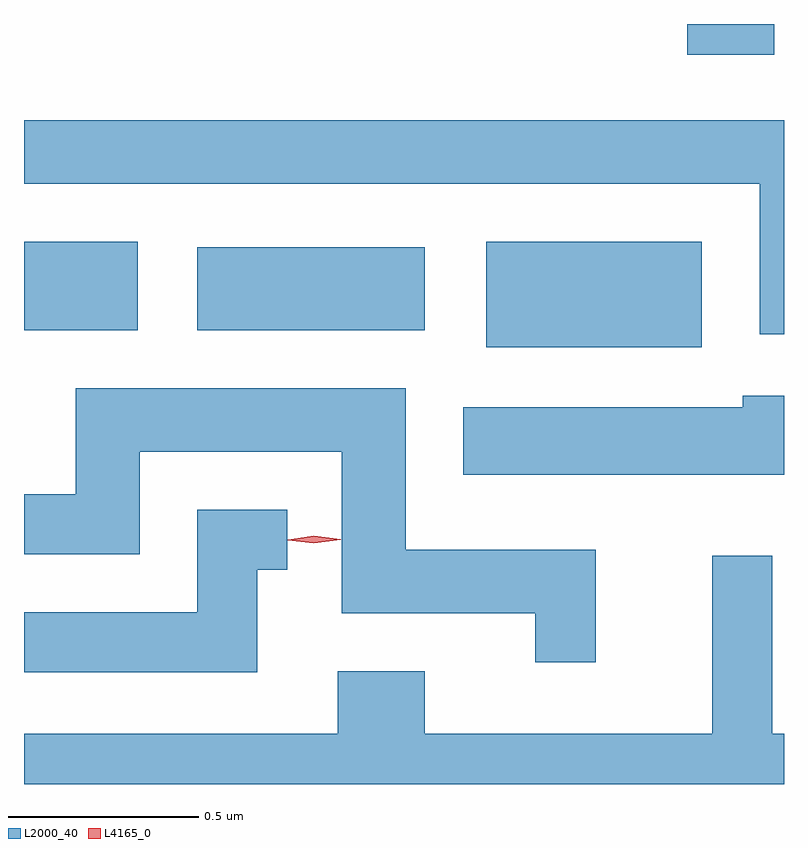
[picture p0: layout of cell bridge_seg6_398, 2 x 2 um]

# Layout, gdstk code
import gdstk
lib = gdstk.Library(unit=1e-6, precision=1e-09)
def R(c, l, rs):  # rectangles x0, y0, x1, y1
    for r in rs: c.add(gdstk.rectangle(r[:2], r[2:], *l))
def P(c, l, *ps):  # polygons
    for p in ps: c.add(gdstk.Polygon(p, *l))
L2000_40 = (2000, 40)
L4165_0 = (4165, 0)

bridge_seg6_398 = lib.new_cell('bridge_seg6_398')
R(bridge_seg6_398, L2000_40, [(971.611,1653.441,972.179,1653.719), (970.395,1653.486,970.694,1653.719), (970.851,1653.486,971.449,1653.704), (972.141,1654.211,972.369,1654.292)])
P(bridge_seg6_398, L2000_40, [(972.395,1654.039),(970.395,1654.039),(970.395,1653.871),(972.331,1653.871),(972.331,1653.476),(972.395,1653.476)],
  [(971.899,1652.909),(971.399,1652.909),(971.399,1653.334),(970.531,1653.334),(970.531,1653.054),(970.395,1653.054),(970.395,1652.896),(970.699,1652.896),(970.699,1653.166),(971.231,1653.166),(971.231,1652.741),(971.741,1652.741),(971.741,1652.613),(971.899,1652.613)],
  [(972.395,1653.314),(972.286,1653.314),(972.286,1653.284),(971.551,1653.284),(971.551,1653.106),(972.395,1653.106)],
  [(971.009,1652.856),(971.088,1652.856),(971.088,1653.014),(970.851,1653.014),(970.851,1652.744),(970.395,1652.744),(970.395,1652.586),(971.009,1652.586)],
  [(972.395,1652.424),(972.364,1652.424),(972.364,1652.893),(972.206,1652.893),(972.206,1652.424),(971.449,1652.424),(971.449,1652.589),(971.221,1652.589),(971.221,1652.424),(970.395,1652.424),(970.395,1652.292),(972.395,1652.292)])
P(bridge_seg6_398, L4165_0, [(971.158,1652.925),(971.089,1652.934),(971.089,1652.935),(971.089,1652.935),(971.158,1652.945),(971.228,1652.936),(971.228,1652.936),(971.228,1652.935)])

lib.write_gds('bridge_seg6_398.gds')
